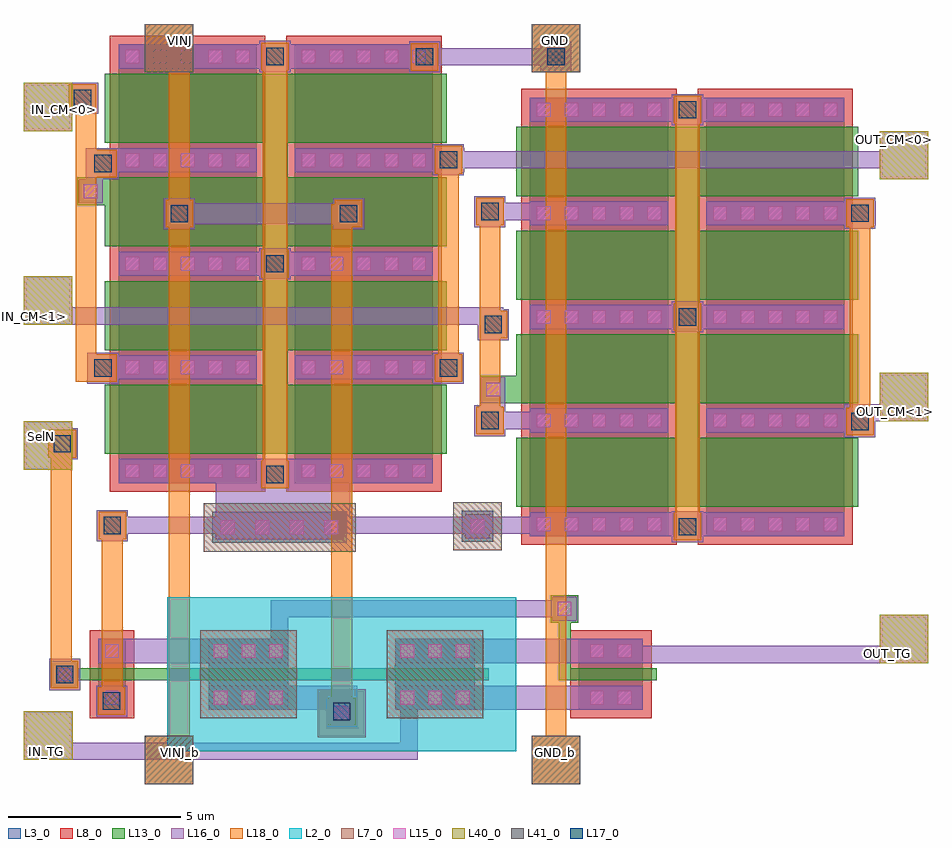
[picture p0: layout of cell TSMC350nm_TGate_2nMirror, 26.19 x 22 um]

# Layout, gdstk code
from math import pi, radians
import gdstk
lib = gdstk.Library(unit=1e-6, precision=1e-09)
def R(c, l, rs):  # rectangles x0, y0, x1, y1
    for r in rs: c.add(gdstk.rectangle(r[:2], r[2:], *l))
def A(c, l, x, y, w, h, nx, ny, dx, dy):  # array of equal rectangles
    R(c, l, [(x+i*dx, y+j*dy, x+i*dx+w, y+j*dy+h) for i in range(nx) for j in range(ny)])
L2_0 = (2, 0)
L3_0 = (3, 0)
L7_0 = (7, 0)
L8_0 = (8, 0)
L13_0 = (13, 0)
L15_0 = (15, 0)
L16_0 = (16, 0)
L17_0 = (17, 0)
L18_0 = (18, 0)
L40_0 = (40, 0)
L41_0 = (41, 0)

m1_nactive_cdns_74405297 = lib.new_cell('M1_NACTIVE_CDNS_744052977170')
R(m1_nactive_cdns_74405297, L3_0, [(-0.45,-0.45,0.45,0.45)])
R(m1_nactive_cdns_74405297, L8_0, [(-0.7,-0.7,0.7,0.7)])
R(m1_nactive_cdns_74405297, L15_0, [(-0.2,-0.2,0.2,0.2)])
R(m1_nactive_cdns_74405297, L16_0, [(-0.35,-0.35,0.35,0.35)])

nch_cdns_744052977171 = lib.new_cell('nch_CDNS_744052977171')
A(nch_cdns_744052977171, L3_0, -0.85, 0, 0.7, 4, 5, 1, 3, 0)
A(nch_cdns_744052977171, L3_0, -0.15, 0, 2.3, 4, 4, 1, 3, 0)
R(nch_cdns_744052977171, L3_0, [(-0.85,0,-0.15,4), (11.15,0,11.85,4)])
R(nch_cdns_744052977171, L8_0, [(-1.1,-0.25,12.1,4.25)])
A(nch_cdns_744052977171, L13_0, 0, -0.4, 2, 4.8, 4, 1, 3, 0)
A(nch_cdns_744052977171, L15_0, -0.7, 0.2, 0.4, 0.4, 5, 5, 3, 0.8)
A(nch_cdns_744052977171, L16_0, -0.85, 0, 0.7, 4, 5, 1, 3, 0)
nch_cdns_744052977171.add(gdstk.Label('G', (1,2), layer=59, texttype=0))
nch_cdns_744052977171.add(gdstk.Label('G', (4,2), layer=59, texttype=0))
nch_cdns_744052977171.add(gdstk.Label('G', (7,2), layer=59, texttype=0))
nch_cdns_744052977171.add(gdstk.Label('G', (10,2), layer=59, texttype=0))
nch_cdns_744052977171.add(gdstk.Label('S', (11.5,2), layer=59, texttype=0))
nch_cdns_744052977171.add(gdstk.Label('S', (-0.5,2), layer=59, texttype=0))
nch_cdns_744052977171.add(gdstk.Label('S', (5.5,2), layer=59, texttype=0))
nch_cdns_744052977171.add(gdstk.Label('D', (2.5,2), layer=59, texttype=0))
nch_cdns_744052977171.add(gdstk.Label('D', (8.5,2), layer=59, texttype=0))
nch_cdns_744052977171.add(gdstk.Label('& Vendor VIS Corp.', (0,0), layer=16, texttype=0))
nch_cdns_744052977171.add(gdstk.Label('& PDKName     vis35cv', (0,0), layer=16, texttype=0))
nch_cdns_744052977171.add(gdstk.Label('& Version    \t  1.7A', (0,0), layer=16, texttype=0))
nch_cdns_744052977171.add(gdstk.Label('& Metric 1', (0,0), layer=16, texttype=0))
nch_cdns_744052977171.add(gdstk.Label('& Distributor VIS', (0,0), layer=16, texttype=0))
nch_cdns_744052977171.add(gdstk.Label('& SerialNumber 000000', (0,0), layer=16, texttype=0))
nch_cdns_744052977171.add(gdstk.Label('& Vendor VIS Corp.', (0,0), layer=63, texttype=63))
nch_cdns_744052977171.add(gdstk.Label('& PDKName     vis35cv', (0,0), layer=63, texttype=63))
nch_cdns_744052977171.add(gdstk.Label('& Version    \t  1.7A', (0,0), layer=63, texttype=63))
nch_cdns_744052977171.add(gdstk.Label('& Metric 1', (0,0), layer=63, texttype=63))
nch_cdns_744052977171.add(gdstk.Label('& Distributor VIS', (0,0), layer=63, texttype=63))
nch_cdns_744052977171.add(gdstk.Label('& SerialNumber 000000', (0,0), layer=63, texttype=63))

m1_pactive_cdns_74405297 = lib.new_cell('M1_PACTIVE_CDNS_744052977172')
R(m1_pactive_cdns_74405297, L3_0, [(-0.45,-1.95,0.45,1.95)])
R(m1_pactive_cdns_74405297, L7_0, [(-0.7,-2.2,0.7,2.2)])
A(m1_pactive_cdns_74405297, L15_0, -0.2, -1.7, 0.4, 0.4, 1, 4, 0, 1)
R(m1_pactive_cdns_74405297, L16_0, [(-0.35,-1.85,0.35,1.85)])

nch_cdns_744052977173 = lib.new_cell('nch_CDNS_744052977173')
R(nch_cdns_744052977173, L3_0, [(-0.85,0,-0.15,1.86), (-0.85,0,-0.15,1.86), (-0.15,0,0.5,1.86), (0.5,0,1.2,1.86), (0.5,0,1.2,1.86)])
R(nch_cdns_744052977173, L8_0, [(-1.1,-0.25,1.45,2.11)])
R(nch_cdns_744052977173, L13_0, [(0,-0.4,0.35,2.26)])
R(nch_cdns_744052977173, L15_0, [(-0.7,0.33,-0.3,0.73), (0.65,0.33,1.05,0.73), (-0.7,1.13,-0.3,1.53), (0.65,1.13,1.05,1.53)])
R(nch_cdns_744052977173, L16_0, [(-0.85,0,-0.15,1.86), (0.5,0,1.2,1.86)])
nch_cdns_744052977173.add(gdstk.Label('G', (0.175,0.93), layer=59, texttype=0))
nch_cdns_744052977173.add(gdstk.Label('S', (-0.5,0.93), layer=59, texttype=0))
nch_cdns_744052977173.add(gdstk.Label('D', (0.85,0.93), layer=59, texttype=0))
nch_cdns_744052977173.add(gdstk.Label('& Vendor VIS Corp.', (0,0), layer=16, texttype=0))
nch_cdns_744052977173.add(gdstk.Label('& PDKName     vis35cv', (0,0), layer=16, texttype=0))
nch_cdns_744052977173.add(gdstk.Label('& Version    \t  1.7A', (0,0), layer=16, texttype=0))
nch_cdns_744052977173.add(gdstk.Label('& Metric 1', (0,0), layer=16, texttype=0))
nch_cdns_744052977173.add(gdstk.Label('& Distributor VIS', (0,0), layer=16, texttype=0))
nch_cdns_744052977173.add(gdstk.Label('& SerialNumber 000000', (0,0), layer=16, texttype=0))
nch_cdns_744052977173.add(gdstk.Label('& Vendor VIS Corp.', (0,0), layer=63, texttype=63))
nch_cdns_744052977173.add(gdstk.Label('& PDKName     vis35cv', (0,0), layer=63, texttype=63))
nch_cdns_744052977173.add(gdstk.Label('& Version    \t  1.7A', (0,0), layer=63, texttype=63))
nch_cdns_744052977173.add(gdstk.Label('& Metric 1', (0,0), layer=63, texttype=63))
nch_cdns_744052977173.add(gdstk.Label('& Distributor VIS', (0,0), layer=63, texttype=63))
nch_cdns_744052977173.add(gdstk.Label('& SerialNumber 000000', (0,0), layer=63, texttype=63))

pch_cdns_744052977174 = lib.new_cell('pch_CDNS_744052977174')
R(pch_cdns_744052977174, L2_0, [(-2.05,-1.2,2.4,3.5)])
R(pch_cdns_744052977174, L3_0, [(-0.85,0,-0.15,2.3), (-0.85,0,-0.15,2.3), (-0.15,0,0.5,2.3), (0.5,0,1.2,2.3), (0.5,0,1.2,2.3)])
R(pch_cdns_744052977174, L7_0, [(-1.1,-0.25,1.45,2.55)])
R(pch_cdns_744052977174, L13_0, [(0,-0.4,0.35,2.7)])
A(pch_cdns_744052977174, L15_0, -0.7, 0.15, 0.4, 0.4, 1, 3, 0, 0.8)
A(pch_cdns_744052977174, L15_0, 0.65, 0.15, 0.4, 0.4, 1, 3, 0, 0.8)
R(pch_cdns_744052977174, L16_0, [(-0.85,0,-0.15,2.3), (0.5,0,1.2,2.3)])
pch_cdns_744052977174.add(gdstk.Label('G', (0.175,1.15), layer=59, texttype=0))
pch_cdns_744052977174.add(gdstk.Label('S', (-0.5,1.15), layer=59, texttype=0))
pch_cdns_744052977174.add(gdstk.Label('D', (0.85,1.15), layer=59, texttype=0))
pch_cdns_744052977174.add(gdstk.Label('& Vendor VIS Corp.', (0,0), layer=16, texttype=0))
pch_cdns_744052977174.add(gdstk.Label('& PDKName     vis35cv', (0,0), layer=16, texttype=0))
pch_cdns_744052977174.add(gdstk.Label('& Version    \t  1.7A', (0,0), layer=16, texttype=0))
pch_cdns_744052977174.add(gdstk.Label('& Metric 1', (0,0), layer=16, texttype=0))
pch_cdns_744052977174.add(gdstk.Label('& Distributor VIS', (0,0), layer=16, texttype=0))
pch_cdns_744052977174.add(gdstk.Label('& SerialNumber 000000', (0,0), layer=16, texttype=0))
pch_cdns_744052977174.add(gdstk.Label('& Vendor VIS Corp.', (0,0), layer=63, texttype=63))
pch_cdns_744052977174.add(gdstk.Label('& PDKName     vis35cv', (0,0), layer=63, texttype=63))
pch_cdns_744052977174.add(gdstk.Label('& Version    \t  1.7A', (0,0), layer=63, texttype=63))
pch_cdns_744052977174.add(gdstk.Label('& Metric 1', (0,0), layer=63, texttype=63))
pch_cdns_744052977174.add(gdstk.Label('& Distributor VIS', (0,0), layer=63, texttype=63))
pch_cdns_744052977174.add(gdstk.Label('& SerialNumber 000000', (0,0), layer=63, texttype=63))

c_m1_pactive_cdns_74405297 = lib.new_cell('M1_PACTIVE_CDNS_744052977175')
R(c_m1_pactive_cdns_74405297, L3_0, [(-0.45,-0.45,0.45,0.45)])
R(c_m1_pactive_cdns_74405297, L7_0, [(-0.7,-0.7,0.7,0.7)])
R(c_m1_pactive_cdns_74405297, L15_0, [(-0.2,-0.2,0.2,0.2)])
R(c_m1_pactive_cdns_74405297, L16_0, [(-0.35,-0.35,0.35,0.35)])

nch_cdns_744052977176 = lib.new_cell('nch_CDNS_744052977176')
R(nch_cdns_744052977176, L3_0, [(-0.85,0,-0.15,0.8), (-0.85,0,-0.15,0.8), (-0.15,0,0.5,0.8), (0.5,0,1.2,0.8), (0.5,0,1.2,0.8)])
R(nch_cdns_744052977176, L8_0, [(-1.1,-0.25,1.45,1.05)])
R(nch_cdns_744052977176, L13_0, [(0,-0.4,0.35,1.2)])
R(nch_cdns_744052977176, L15_0, [(-0.7,0.2,-0.3,0.6), (0.65,0.2,1.05,0.6)])
R(nch_cdns_744052977176, L16_0, [(-0.85,0,-0.15,0.8), (0.5,0,1.2,0.8)])
nch_cdns_744052977176.add(gdstk.Label('G', (0.175,0.4), layer=59, texttype=0))
nch_cdns_744052977176.add(gdstk.Label('S', (-0.5,0.4), layer=59, texttype=0))
nch_cdns_744052977176.add(gdstk.Label('D', (0.85,0.4), layer=59, texttype=0))
nch_cdns_744052977176.add(gdstk.Label('& Vendor VIS Corp.', (0,0), layer=16, texttype=0))
nch_cdns_744052977176.add(gdstk.Label('& PDKName     vis35cv', (0,0), layer=16, texttype=0))
nch_cdns_744052977176.add(gdstk.Label('& Version    \t  1.7A', (0,0), layer=16, texttype=0))
nch_cdns_744052977176.add(gdstk.Label('& Metric 1', (0,0), layer=16, texttype=0))
nch_cdns_744052977176.add(gdstk.Label('& Distributor VIS', (0,0), layer=16, texttype=0))
nch_cdns_744052977176.add(gdstk.Label('& SerialNumber 000000', (0,0), layer=16, texttype=0))
nch_cdns_744052977176.add(gdstk.Label('& Vendor VIS Corp.', (0,0), layer=63, texttype=63))
nch_cdns_744052977176.add(gdstk.Label('& PDKName     vis35cv', (0,0), layer=63, texttype=63))
nch_cdns_744052977176.add(gdstk.Label('& Version    \t  1.7A', (0,0), layer=63, texttype=63))
nch_cdns_744052977176.add(gdstk.Label('& Metric 1', (0,0), layer=63, texttype=63))
nch_cdns_744052977176.add(gdstk.Label('& Distributor VIS', (0,0), layer=63, texttype=63))
nch_cdns_744052977176.add(gdstk.Label('& SerialNumber 000000', (0,0), layer=63, texttype=63))

m1_poly1__190324780_cdns = lib.new_cell('M1_POLY1$$190324780_CDNS_744324275800')
R(m1_poly1__190324780_cdns, L13_0, [(-0.4,-0.4,0.4,0.4)])
R(m1_poly1__190324780_cdns, L15_0, [(-0.2,-0.2,0.2,0.2)])
R(m1_poly1__190324780_cdns, L16_0, [(-0.35,-0.35,0.35,0.35)])

c_m1_poly1__190324780_cdns = lib.new_cell('M1_POLY1$$190324780_CDNS_744324275801')
R(c_m1_poly1__190324780_cdns, L13_0, [(-0.41,-0.4,0.39,0.4)])
R(c_m1_poly1__190324780_cdns, L15_0, [(-0.21,-0.2,0.19,0.2)])
R(c_m1_poly1__190324780_cdns, L16_0, [(-0.36,-0.35,0.34,0.35)])

prog_periph_via2_cdns_74 = lib.new_cell('prog_periph_VIA2_CDNS_744324275802')
R(prog_periph_via2_cdns_74, L16_0, [(-0.45,-0.45,0.45,0.45)])
R(prog_periph_via2_cdns_74, L17_0, [(-0.25,-0.25,0.25,0.25)])
R(prog_periph_via2_cdns_74, L18_0, [(-0.4,-0.4,0.4,0.4)])

tsmc350nm_tgate_2nmirror = lib.new_cell('TSMC350nm_TGate_2nMirror')
R(tsmc350nm_tgate_2nmirror, L2_0, [(8.85,0.95,9.55,5.4)])
R(tsmc350nm_tgate_2nmirror, L13_0, [(18.85,8.02,19.54,19.02), (6.95,9.56,7.62,20.56), (7.02,9.56,7.64,20.56), (13.99,11.02,14.25,11.82)])
A(tsmc350nm_tgate_2nmirror, L16_0, 24.775, 3.5, 1.405, 1.4, 1, 3, 0, 7)
R(tsmc350nm_tgate_2nmirror, L16_0, [(0,1.2,1.42,2.1), (24.96,4,25.9,4.23), (5.55,7.25,9.45,8.73), (-0.005,9.1,1.4,10.5), (0,9.78,0.66,9.8), (25.1,11,25.9,11.22), (-0.005,13.3,1.4,14.7), (0,13.3,1.4,14.02), (-0.005,18.9,1.4,20.3), (0,19.6,1.4,19.8)])
R(tsmc350nm_tgate_2nmirror, L18_0, [(3.5,0,4.9,1.4), (14.7,0,16.1,1.4), (3.5,20.6,4.9,22), (14.7,20.6,16.1,22)])
A(tsmc350nm_tgate_2nmirror, L40_0, 24.775, 3.5, 1.405, 1.4, 1, 3, 0, 7)
R(tsmc350nm_tgate_2nmirror, L40_0, [(0,0.7,1.42,2.1), (0,9.1,1.4,10.5), (0,13.3,1.4,14.7), (0,18.9,1.4,20.3)])
R(tsmc350nm_tgate_2nmirror, L41_0, [(3.5,0,4.9,1.4), (14.7,0,16.1,1.4), (3.5,20.6,4.9,22), (14.7,20.6,16.1,22)])
tsmc350nm_tgate_2nmirror.add(gdstk.FlexPath([(15.655,3.17),(15.655,5.07)], 0.35, ends=(0.17, 0), simple_path=True, layer=13, datatype=0))  # L13_0
tsmc350nm_tgate_2nmirror.add(gdstk.FlexPath([(4.95,3.175),(3.31,3.175)], 0.35, ends="flush", simple_path=True, layer=13, datatype=0))  # L13_0
tsmc350nm_tgate_2nmirror.add(gdstk.FlexPath([(8.05,3.175),(10.35,3.175)], 0.35, ends="flush", simple_path=True, layer=13, datatype=0))  # L13_0
tsmc350nm_tgate_2nmirror.add(gdstk.FlexPath([(1.92,3.175),(1.21,3.175)], 0.35, ends="flush", simple_path=True, layer=13, datatype=0))  # L13_0
tsmc350nm_tgate_2nmirror.add(gdstk.FlexPath([(15.4,21.05),(15.4,0)], 0.6, ends="flush", simple_path=True, layer=18, datatype=0))  # L18_0
tsmc350nm_tgate_2nmirror.add(gdstk.FlexPath([(4.5,16.51),(4.5,0)], 0.6, ends="flush", simple_path=True, layer=18, datatype=0))  # L18_0
tsmc350nm_tgate_2nmirror.add(gdstk.FlexPath([(13.49,13.3),(13.43,13.3)], 0.6, ends=(0.3, 0), simple_path=True, layer=18, datatype=0))  # L18_0
tsmc350nm_tgate_2nmirror.add(gdstk.FlexPath([(13.49,10.44),(13.49,13.3)], 0.6, ends=(0, 0.3), simple_path=True, layer=18, datatype=0))  # L18_0
tsmc350nm_tgate_2nmirror.add(gdstk.FlexPath([(1.21,3.17),(1.11,3.17)], 0.8, ends=(0, 0.3), simple_path=True, layer=18, datatype=0))  # L18_0
tsmc350nm_tgate_2nmirror.add(gdstk.FlexPath([(1.08,3.17),(1.08,9.72)], 0.6, ends=(0.4, 0), simple_path=True, layer=18, datatype=0))  # L18_0
tsmc350nm_tgate_2nmirror.add(gdstk.FlexPath([(9.2,2.1),(9.2,16.78)], 0.6, ends="flush", simple_path=True, layer=18, datatype=0))  # L18_0
tsmc350nm_tgate_2nmirror.add(gdstk.FlexPath([(7.27,21.06),(7.27,8.99)], 0.7, ends="flush", simple_path=True, layer=18, datatype=0))  # L18_0
tsmc350nm_tgate_2nmirror.add(gdstk.FlexPath([(2.56,2.4),(2.56,7.64)], 0.6, ends="flush", simple_path=True, layer=18, datatype=0))  # L18_0
tsmc350nm_tgate_2nmirror.add(gdstk.FlexPath([(4.5,22),(4.5,16.51)], 0.6, ends="flush", simple_path=True, layer=18, datatype=0))  # L18_0
tsmc350nm_tgate_2nmirror.add(gdstk.FlexPath([(15.4,22),(15.4,20.95)], 0.6, ends="flush", simple_path=True, layer=18, datatype=0))  # L18_0
tsmc350nm_tgate_2nmirror.add(gdstk.FlexPath([(19.21,19.52),(19.21,7.45)], 0.7, ends="flush", simple_path=True, layer=18, datatype=0))  # L18_0
tsmc350nm_tgate_2nmirror.add(gdstk.FlexPath([(13.49,16.57),(13.49,13.3)], 0.6, ends=(0, 0.3), simple_path=True, layer=18, datatype=0))  # L18_0
tsmc350nm_tgate_2nmirror.add(gdstk.FlexPath([(12.29,18.07),(12.29,12.04)], 0.6, ends="flush", simple_path=True, layer=18, datatype=0))  # L18_0
tsmc350nm_tgate_2nmirror.add(gdstk.FlexPath([(24.2,16.52),(24.2,10.49)], 0.6, ends="flush", simple_path=True, layer=18, datatype=0))  # L18_0
tsmc350nm_tgate_2nmirror.add(gdstk.FlexPath([(1.8,19.85),(1.8,11.64)], 0.6, ends=(0.4, 0), simple_path=True, layer=18, datatype=0))  # L18_0
tsmc350nm_tgate_2nmirror.add(gdstk.FlexPath([(1.7,19.85),(1.8,19.85)], 0.8, ends=(0, 0.3), simple_path=True, layer=18, datatype=0))  # L18_0
tsmc350nm_tgate_2nmirror.add(gdstk.FlexPath([(7.4,5.07),(7.4,3.88)], 0.5, ends=(0.25, 0), simple_path=True, layer=16, datatype=0))  # L16_0
tsmc350nm_tgate_2nmirror.add(gdstk.FlexPath([(15.655,5.07),(7.4,5.07)], 0.5, ends=(0, 0.25), simple_path=True, layer=16, datatype=0))  # L16_0
tsmc350nm_tgate_2nmirror.add(gdstk.FlexPath([(5.35,3.85),(2.71,3.85)], 0.7, ends="flush", simple_path=True, layer=16, datatype=0))  # L16_0
tsmc350nm_tgate_2nmirror.add(gdstk.FlexPath([(17.81,7.49),(2.56,7.49)], 0.5, ends="flush", simple_path=True, layer=16, datatype=0))  # L16_0
tsmc350nm_tgate_2nmirror.add(gdstk.FlexPath([(18.64,19.52),(19.21,19.52)], 0.7, ends="flush", simple_path=True, layer=16, datatype=0))  # L16_0
tsmc350nm_tgate_2nmirror.add(gdstk.FlexPath([(12.29,12.07),(12.73,12.07)], 0.7, ends=(0.35, 0), simple_path=True, layer=16, datatype=0))  # L16_0
tsmc350nm_tgate_2nmirror.add(gdstk.FlexPath([(6.73,9.06),(8.76,9.06)], 0.7, ends="flush", simple_path=True, layer=16, datatype=0))  # L16_0
tsmc350nm_tgate_2nmirror.add(gdstk.FlexPath([(13.05,3.85),(16.06,3.85)], 0.7, ends="flush", simple_path=True, layer=16, datatype=0))  # L16_0
tsmc350nm_tgate_2nmirror.add(gdstk.FlexPath([(13.05,2.5),(16.07,2.5)], 0.7, ends="flush", simple_path=True, layer=16, datatype=0))  # L16_0
tsmc350nm_tgate_2nmirror.add(gdstk.FlexPath([(12.29,18.07),(25,18.07)], 0.5, ends=(0, 0.25), simple_path=True, layer=16, datatype=0))  # L16_0
tsmc350nm_tgate_2nmirror.add(gdstk.FlexPath([(18.63,13.52),(19.21,13.52)], 0.7, ends="flush", simple_path=True, layer=16, datatype=0))  # L16_0
tsmc350nm_tgate_2nmirror.add(gdstk.FlexPath([(0.8,13.55),(13.88,13.55)], 0.5, ends=(0.25, 0), simple_path=True, layer=16, datatype=0))  # L16_0
tsmc350nm_tgate_2nmirror.add(gdstk.FlexPath([(0,0.95),(11.15,0.95)], 0.5, ends=(0, 0.25), simple_path=True, layer=16, datatype=0))  # L16_0
tsmc350nm_tgate_2nmirror.add(gdstk.FlexPath([(11.15,0.95),(11.15,2.54)], 0.5, ends=(0.25, 0), simple_path=True, layer=16, datatype=0))  # L16_0
tsmc350nm_tgate_2nmirror.add(gdstk.FlexPath([(17.88,3.75),(25.9,3.75)], 0.5, ends="flush", simple_path=True, layer=16, datatype=0))  # L16_0
tsmc350nm_tgate_2nmirror.add(gdstk.FlexPath([(1.42,10.05),(0,10.05)], 0.5, ends="flush", simple_path=True, layer=16, datatype=0))  # L16_0
tsmc350nm_tgate_2nmirror.add(gdstk.FlexPath([(23.75,10.75),(25.9,10.75)], 0.5, ends="flush", simple_path=True, layer=16, datatype=0))  # L16_0
tsmc350nm_tgate_2nmirror.add(gdstk.FlexPath([(18.65,7.52),(19.75,7.52)], 0.7, ends="flush", simple_path=True, layer=16, datatype=0))  # L16_0
tsmc350nm_tgate_2nmirror.add(gdstk.FlexPath([(19.21,13.52),(19.75,13.52)], 0.7, ends="flush", simple_path=True, layer=16, datatype=0))  # L16_0
tsmc350nm_tgate_2nmirror.add(gdstk.FlexPath([(7.61,2.5),(9.65,2.5)], 0.7, ends="flush", simple_path=True, layer=16, datatype=0))  # L16_0
tsmc350nm_tgate_2nmirror.add(gdstk.FlexPath([(4.5,16.51),(9.4,16.51)], 0.6, ends="flush", simple_path=True, layer=16, datatype=0))  # L16_0
tsmc350nm_tgate_2nmirror.add(gdstk.FlexPath([(6.71,21.06),(7.27,21.06)], 0.7, ends="flush", simple_path=True, layer=16, datatype=0))  # L16_0
tsmc350nm_tgate_2nmirror.add(gdstk.FlexPath([(0,20.05),(1.7,20.05)], 0.5, ends=(0, 0.25), simple_path=True, layer=16, datatype=0))  # L16_0
tsmc350nm_tgate_2nmirror.add(gdstk.FlexPath([(1.7,20.05),(1.7,19.97)], 0.5, ends=(0.25, 0), simple_path=True, layer=16, datatype=0))  # L16_0
tsmc350nm_tgate_2nmirror.add(gdstk.FlexPath([(13.59,11.42),(13.59,10.52)], 0.7, ends=(0, 0.25), simple_path=True, layer=16, datatype=0))  # L16_0
tsmc350nm_tgate_2nmirror.add(gdstk.FlexPath([(13.59,10.52),(13.59,10.27)], 0.7, ends=(0.25, 0), simple_path=True, layer=16, datatype=0))  # L16_0
tsmc350nm_tgate_2nmirror.add(gdstk.FlexPath([(14.7,10.52),(13.49,10.52)], 0.5, ends="flush", simple_path=True, layer=16, datatype=0))  # L16_0
tsmc350nm_tgate_2nmirror.add(gdstk.FlexPath([(12.75,18.07),(12.29,18.07)], 0.7, ends="flush", simple_path=True, layer=16, datatype=0))  # L16_0
tsmc350nm_tgate_2nmirror.add(gdstk.FlexPath([(24.66,16.52),(24.2,16.52)], 0.7, ends="flush", simple_path=True, layer=16, datatype=0))  # L16_0
tsmc350nm_tgate_2nmirror.add(gdstk.FlexPath([(7.27,15.06),(7.84,15.06)], 0.7, ends="flush", simple_path=True, layer=16, datatype=0))  # L16_0
tsmc350nm_tgate_2nmirror.add(gdstk.FlexPath([(19.21,19.52),(19.75,19.52)], 0.7, ends="flush", simple_path=True, layer=16, datatype=0))  # L16_0
tsmc350nm_tgate_2nmirror.add(gdstk.FlexPath([(14.7,16.57),(13.49,16.57)], 0.5, ends="flush", simple_path=True, layer=16, datatype=0))  # L16_0
tsmc350nm_tgate_2nmirror.add(gdstk.FlexPath([(12.29,12.04),(12.29,12.07)], 0.7, ends=(0, 0.35), simple_path=True, layer=16, datatype=0))  # L16_0
tsmc350nm_tgate_2nmirror.add(gdstk.FlexPath([(24.32,10.52),(24.2,10.52)], 0.7, ends=(0, 0.35), simple_path=True, layer=16, datatype=0))  # L16_0
tsmc350nm_tgate_2nmirror.add(gdstk.FlexPath([(24.2,10.52),(24.2,10.49)], 0.7, ends=(0.35, 0), simple_path=True, layer=16, datatype=0))  # L16_0
tsmc350nm_tgate_2nmirror.add(gdstk.FlexPath([(2.04,17.32),(2.04,18.41)], 0.5, ends="flush", simple_path=True, layer=16, datatype=0))  # L16_0
tsmc350nm_tgate_2nmirror.add(gdstk.FlexPath([(6.72,15.06),(7.27,15.06)], 0.7, ends="flush", simple_path=True, layer=16, datatype=0))  # L16_0
tsmc350nm_tgate_2nmirror.add(gdstk.FlexPath([(7.27,21.06),(7.84,21.06)], 0.7, ends="flush", simple_path=True, layer=16, datatype=0))  # L16_0
tsmc350nm_tgate_2nmirror.add(gdstk.FlexPath([(15.4,21.05),(11.6,21.05)], 0.5, ends="flush", simple_path=True, layer=16, datatype=0))  # L16_0
tsmc350nm_tgate_2nmirror.add(gdstk.Reference(m1_nactive_cdns_74405297, (9.2,2.05)))
tsmc350nm_tgate_2nmirror.add(gdstk.Reference(nch_cdns_744052977171, (2.74,20.56), rotation=3*pi/2))
tsmc350nm_tgate_2nmirror.add(gdstk.Reference(nch_cdns_744052977171, (7.84,20.56), rotation=3*pi/2))
tsmc350nm_tgate_2nmirror.add(gdstk.Reference(nch_cdns_744052977171, (14.65,19.02), rotation=3*pi/2))
tsmc350nm_tgate_2nmirror.add(gdstk.Reference(nch_cdns_744052977171, (19.75,19.02), rotation=3*pi/2))
tsmc350nm_tgate_2nmirror.add(gdstk.Reference(m1_pactive_cdns_74405297, (7.4,7.43), rotation=pi/2))
tsmc350nm_tgate_2nmirror.add(gdstk.Reference(nch_cdns_744052977173, (17.92,3.35), rotation=3*pi/2, x_reflection=True))
tsmc350nm_tgate_2nmirror.add(gdstk.Reference(pch_cdns_744052977174, (13.05,3.35), rotation=3*pi/2, x_reflection=True))
tsmc350nm_tgate_2nmirror.add(gdstk.Reference(pch_cdns_744052977174, (5.35,3), rotation=pi/2, x_reflection=True))
tsmc350nm_tgate_2nmirror.add(gdstk.Reference(c_m1_pactive_cdns_74405297, (13.13,7.46)))
tsmc350nm_tgate_2nmirror.add(gdstk.Reference(nch_cdns_744052977176, (2.15,3), rotation=pi/2, x_reflection=True))
tsmc350nm_tgate_2nmirror.add(gdstk.Reference(m1_poly1__190324780_cdns, (1.18,3.17)))
tsmc350nm_tgate_2nmirror.add(gdstk.Reference(m1_poly1__190324780_cdns, (13.59,11.42)))
tsmc350nm_tgate_2nmirror.add(gdstk.Reference(m1_poly1__190324780_cdns, (1.94,17.16)))
tsmc350nm_tgate_2nmirror.add(gdstk.Reference(c_m1_poly1__190324780_cdns, (15.66,5.07)))
tsmc350nm_tgate_2nmirror.add(gdstk.Reference(prog_periph_via2_cdns_74, (1.18,3.17)))
tsmc350nm_tgate_2nmirror.add(gdstk.Reference(prog_periph_via2_cdns_74, (1.11,9.85)))
tsmc350nm_tgate_2nmirror.add(gdstk.Reference(prog_periph_via2_cdns_74, (13.59,13.3)))
tsmc350nm_tgate_2nmirror.add(gdstk.Reference(prog_periph_via2_cdns_74, (13.49,10.52)))
tsmc350nm_tgate_2nmirror.add(gdstk.Reference(prog_periph_via2_cdns_74, (9.2,2.1)))
tsmc350nm_tgate_2nmirror.add(gdstk.Reference(prog_periph_via2_cdns_74, (7.27,8.96)))
tsmc350nm_tgate_2nmirror.add(gdstk.Reference(prog_periph_via2_cdns_74, (7.27,21.06)))
tsmc350nm_tgate_2nmirror.add(gdstk.Reference(prog_periph_via2_cdns_74, (2.54,2.4)))
tsmc350nm_tgate_2nmirror.add(gdstk.Reference(prog_periph_via2_cdns_74, (2.56,7.48)))
tsmc350nm_tgate_2nmirror.add(gdstk.Reference(prog_periph_via2_cdns_74, (19.21,19.52)))
tsmc350nm_tgate_2nmirror.add(gdstk.Reference(prog_periph_via2_cdns_74, (19.21,7.45)))
tsmc350nm_tgate_2nmirror.add(gdstk.Reference(prog_periph_via2_cdns_74, (19.21,13.52)))
tsmc350nm_tgate_2nmirror.add(gdstk.Reference(prog_periph_via2_cdns_74, (24.2,16.52)))
tsmc350nm_tgate_2nmirror.add(gdstk.Reference(prog_periph_via2_cdns_74, (7.27,15.06)))
tsmc350nm_tgate_2nmirror.add(gdstk.Reference(prog_periph_via2_cdns_74, (24.2,10.49)))
tsmc350nm_tgate_2nmirror.add(gdstk.Reference(prog_periph_via2_cdns_74, (13.49,16.57)))
tsmc350nm_tgate_2nmirror.add(gdstk.Reference(prog_periph_via2_cdns_74, (12.29,18.07)))
tsmc350nm_tgate_2nmirror.add(gdstk.Reference(prog_periph_via2_cdns_74, (12.29,12.04)))
tsmc350nm_tgate_2nmirror.add(gdstk.Reference(prog_periph_via2_cdns_74, (2.29,12.04)))
tsmc350nm_tgate_2nmirror.add(gdstk.Reference(prog_periph_via2_cdns_74, (4.5,16.51)))
tsmc350nm_tgate_2nmirror.add(gdstk.Reference(prog_periph_via2_cdns_74, (9.4,16.51)))
tsmc350nm_tgate_2nmirror.add(gdstk.Reference(prog_periph_via2_cdns_74, (11.6,21.05)))
tsmc350nm_tgate_2nmirror.add(gdstk.Reference(prog_periph_via2_cdns_74, (2.29,17.96)))
tsmc350nm_tgate_2nmirror.add(gdstk.Reference(prog_periph_via2_cdns_74, (1.7,19.85)))
tsmc350nm_tgate_2nmirror.add(gdstk.Reference(prog_periph_via2_cdns_74, (15.4,21.05)))
tsmc350nm_tgate_2nmirror.add(gdstk.Label('GND_b', (15.39,0.92), layer=41, texttype=0))
tsmc350nm_tgate_2nmirror.add(gdstk.Label('VINJ_b', (4.52,0.92), layer=41, texttype=0))
tsmc350nm_tgate_2nmirror.add(gdstk.Label('GND', (15.39,21.52), layer=41, texttype=0))
tsmc350nm_tgate_2nmirror.add(gdstk.Label('VINJ', (4.52,21.52), layer=41, texttype=0))
tsmc350nm_tgate_2nmirror.add(gdstk.Label('IN_CM<0>', (1.18,19.52), layer=40, texttype=0))
tsmc350nm_tgate_2nmirror.add(gdstk.Label('IN_CM<1>', (0.29,13.52), layer=40, texttype=0))
tsmc350nm_tgate_2nmirror.add(gdstk.Label('IN_TG', (0.66,0.95), layer=40, texttype=0))
tsmc350nm_tgate_2nmirror.add(gdstk.Label('SelN', (0.5,10.05), layer=40, texttype=0))
tsmc350nm_tgate_2nmirror.add(gdstk.Label('OUT_TG', (24.99,3.78), layer=40, texttype=0))
tsmc350nm_tgate_2nmirror.add(gdstk.Label('OUT_CM<1>', (25.22,10.77), layer=40, texttype=0))
tsmc350nm_tgate_2nmirror.add(gdstk.Label('OUT_CM<0>', (25.2,18.66), layer=40, texttype=0))

lib.write_gds('TSMC350nm_TGate_2nMirror.gds')
